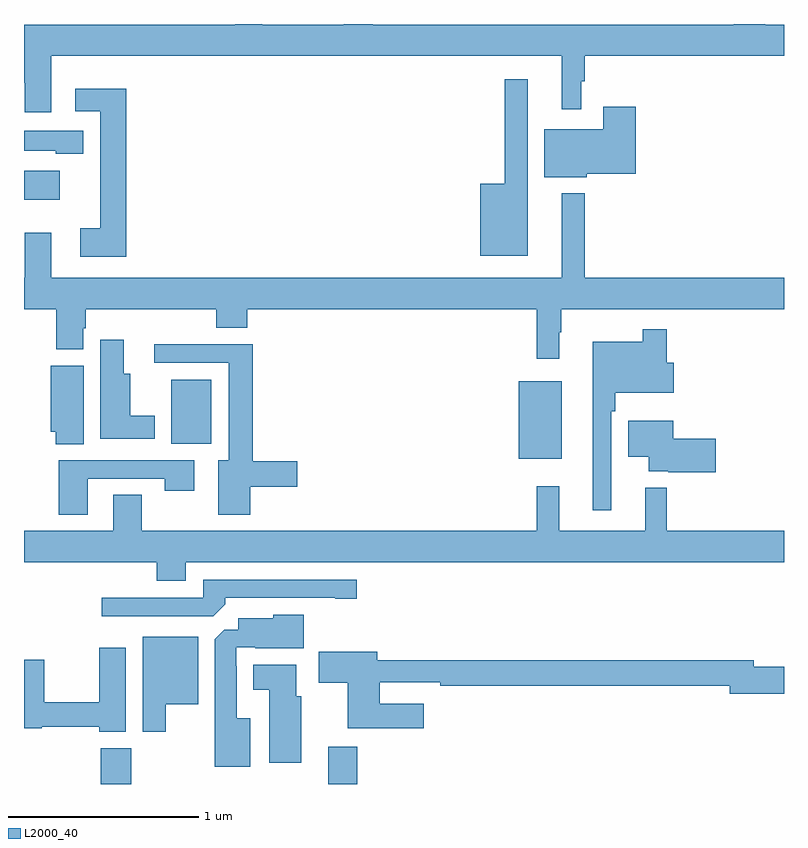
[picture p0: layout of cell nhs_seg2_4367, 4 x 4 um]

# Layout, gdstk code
import gdstk
lib = gdstk.Library(unit=1e-6, precision=1e-09)
def R(c, l, rs):  # rectangles x0, y0, x1, y1
    for r in rs: c.add(gdstk.rectangle(r[:2], r[2:], *l))
def P(c, l, *ps):  # polygons
    for p in ps: c.add(gdstk.Polygon(p, *l))
L2000_40 = (2000, 40)

nhs_seg2_4367 = lib.new_cell('nhs_seg2_4367')
R(nhs_seg2_4367, L2000_40, [(347.405,647.8,347.565,647.989), (348.602,647.8,348.755,647.995), (349.604,649.511,349.831,649.921), (347.774,649.592,347.986,649.927), (347,650.876,347.188,651.028)])
P(nhs_seg2_4367, L2000_40, [(347.143,651.632),(349.829,651.632),(349.829,651.351),(349.933,651.351),(349.933,651.5),(349.951,651.5),(349.951,651.632),(351,651.632),(351,651.796),(350.9,651.796),(350.9,651.8),(350.735,651.8),(350.735,651.796),(348.836,651.796),(348.836,651.8),(348.683,651.8),(348.683,651.796),(348.253,651.796),(348.253,651.8),(348.113,651.8),(348.113,651.796),(347,651.796),(347,651.492),(347.003,651.492),(347.003,651.336),(347.143,651.336)],
  [(349.651,651.508),(349.53,651.508),(349.53,650.959),(349.4,650.959),(349.4,650.579),(349.651,650.579)],
  [(347.537,651.46),(347.271,651.46),(347.271,651.341),(347.402,651.341),(347.402,650.724),(347.295,650.724),(347.295,650.576),(347.537,650.576)],
  [(349.962,651.011),(350.219,651.011),(350.219,651.364),(350.048,651.364),(350.048,651.247),(349.739,651.247),(349.739,650.993),(349.962,650.993)],
  [(347.311,651.238),(347,651.238),(347,651.134),(347.166,651.134),(347.166,651.116),(347.311,651.116)],
  [(349.816,650.177),(349.828,650.177),(349.828,650.3),(351,650.3),(351,650.464),(349.951,650.464),(349.951,650.908),(349.829,650.908),(349.829,650.464),(347.143,650.464),(347.143,650.701),(347.003,650.701),(347.003,650.464),(347,650.464),(347,650.3),(347.171,650.3),(347.171,650.087),(347.311,650.087),(347.311,650.199),(347.324,650.199),(347.324,650.3),(348.011,650.3),(348.011,650.201),(348.176,650.201),(348.176,650.3),(349.699,650.3),(349.699,650.037),(349.816,650.037)],
  [(350.091,649.763),(350.111,649.763),(350.111,649.859),(350.419,649.859),(350.419,650.017),(350.384,650.017),(350.384,650.194),(350.256,650.194),(350.256,650.128),(349.994,650.128),(349.994,649.242),(350.091,649.242)],
  [(347.689,649.738),(347.56,649.738),(347.56,649.96),(347.524,649.96),(347.524,650.137),(347.402,650.137),(347.402,649.616),(347.689,649.616)],
  [(348.19,649.364),(348.439,649.364),(348.439,649.499),(348.203,649.499),(348.203,650.114),(347.685,650.114),(347.685,650.016),(348.077,650.016),(348.077,649.504),(348.023,649.504),(348.023,649.218),(348.19,649.218)],
  [(347.314,650.002),(347.141,650.002),(347.141,649.655),(347.168,649.655),(347.168,649.588),(347.314,649.588)],
  [(350.641,649.616),(350.416,649.616),(350.416,649.711),(350.18,649.711),(350.18,649.523),(350.288,649.523),(350.288,649.445),(350.392,649.445),(350.392,649.44),(350.641,649.44)],
  [(347.335,649.407),(347.74,649.407),(347.74,649.344),(347.896,649.344),(347.896,649.503),(347.183,649.503),(347.183,649.218),(347.335,649.218)],
  [(347.851,648.968),(351,648.968),(351,649.132),(350.382,649.132),(350.382,649.36),(350.27,649.36),(350.27,649.132),(349.817,649.132),(349.817,649.366),(349.699,649.366),(349.699,649.132),(347.619,649.132),(347.619,649.322),(347.471,649.322),(347.471,649.132),(347,649.132),(347,648.968),(347.699,648.968),(347.699,648.869),(347.851,648.869)],
  [(348.059,648.746),(348.059,648.78),(348.638,648.78),(348.638,648.775),(348.751,648.775),(348.751,648.876),(347.943,648.876),(347.943,648.78),(347.409,648.78),(347.409,648.684),(347.997,648.684)],
  [(348.19,648.145),(348.121,648.145),(348.121,648.419),(348.117,648.419),(348.117,648.519),(348.217,648.519),(348.217,648.515),(348.472,648.515),(348.472,648.691),(348.312,648.691),(348.312,648.673),(348.128,648.673),(348.128,648.612),(348.054,648.612),(348.005,648.563),(348.005,647.891),(348.19,647.891)],
  [(347.746,648.221),(347.917,648.221),(347.917,648.574),(347.624,648.574),(347.624,648.075),(347.746,648.075)],
  [(347.536,648.517),(347.395,648.517),(347.395,648.23),(347.106,648.23),(347.106,648.454),(347,648.454),(347,648.094),(347.094,648.094),(347.094,648.102),(347.395,648.102),(347.395,648.074),(347.536,648.074)],
  [(349.105,648.223),(348.872,648.223),(348.872,648.336),(349.192,648.336),(349.192,648.316),(350.714,648.316),(350.714,648.274),(351,648.274),(351,648.416),(350.842,648.416),(350.842,648.452),(348.859,648.452),(348.859,648.496),(348.552,648.496),(348.552,648.334),(348.704,648.334),(348.704,648.094),(349.105,648.094)],
  [(348.46,648.261),(348.433,648.261),(348.433,648.427),(348.206,648.427),(348.206,648.296),(348.29,648.296),(348.29,647.913),(348.46,647.913)])

lib.write_gds('nhs_seg2_4367.gds')
